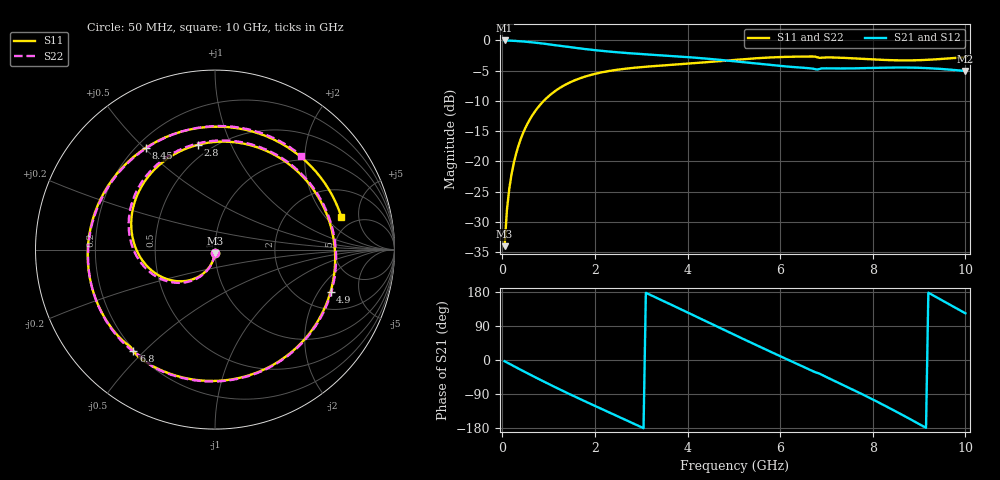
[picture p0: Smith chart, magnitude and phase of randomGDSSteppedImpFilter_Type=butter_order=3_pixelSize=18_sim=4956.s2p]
! freq	dB(S11)	phase(S11)	dB(S12)	phase(S12)
!  dB(S21)	phase(S21)	dB(S22)	phase(S22)
!S-par simulation data
#  GHz  S  DB  R 50
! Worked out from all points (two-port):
!   200 points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, 50 MHz to 10 GHz, reference 50 ohm
!   highest |S21| = -0.01 dB at 50 MHz (marker M1); lowest = -5.0 dB at 10 GHz (marker M2)
!   |S21| within 3 dB of the highest: start of sweep to 4.407 GHz
!   lowest |S11| = -34.0 dB at 50 MHz (marker M3), VSWR 1.04, Z = 49.9 - j1.99 ohm
!   |S11| at or under -10 dB: start of sweep to 894.3 MHz
!   |S22| runs from -34.0 to -2.6 dB; largest |S21 - S12| = 0
!   S11 on the Smith chart (normalised r, x): 50 MHz: 1.00, -0.04; 2.8 GHz: 0.42, +0.76; 4.9 GHz: 2.91, -2.58; 6.8 GHz: 0.19, -0.47; 8.45 GHz: 0.24, +0.51; 10 GHz: 3.86, +3.02
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0.05  -34.01 -92.9  -0.01 -3.3  -0.01 -3.3  -34.03 -93.0
0.1  -28.04 -96.6  -0.02 -6.6  -0.02 -6.6  -28.04 -96.3
0.2  -22.10 -103.6  -0.05 -13.1  -0.05 -13.1  -22.10 -102.9
0.5  -14.45 -123.6  -0.21 -32.3  -0.21 -32.3  -14.44 -121.9
1.1  -8.60 -161.7  -0.74 -69.3  -0.74 -69.3  -8.60 -158.0
1.75  -6.07 159.4  -1.39 -107.0  -1.39 -107.0  -6.07 165.3
2.3  -5.06 127.8  -1.84 -137.9  -1.84 -137.9  -5.06 135.3
2.8  -4.56 99.4  -2.15 -165.8  -2.15 -165.8  -4.56 107.9
3.4  -4.18 65.2  -2.45 160.2  -2.45 160.2  -4.18 74.3
4.2  -3.72 19.7  -2.87 113.9  -2.87 113.9  -3.73 27.8
4.9  -3.28 -20.1  -3.36 73.0  -3.36 73.0  -3.29 -13.6
5.05  -3.19 -28.5  -3.48 64.3  -3.48 64.3  -3.20 -22.4
5.95  -2.76 -79.1  -4.19 13.0  -4.19 13.0  -2.75 -73.9
6.7  -2.66 -122.2  -4.66 -29.1  -4.66 -29.1  -2.62 -115.3
6.8  -2.77 -128.7  -4.81 -34.0  -4.81 -34.0  -2.71 -121.3
7.6  -2.97 -176.8  -4.62 -80.1  -4.62 -80.1  -2.89 -163.4
7.95  -3.12 159.8  -4.56 -101.2  -4.56 -101.2  -3.04 177.2
8.35  -3.26 131.5  -4.49 -126.2  -4.49 -126.2  -3.20 154.2
8.45  -3.28 124.3  -4.48 -132.6  -4.48 -132.6  -3.23 148.3
9.15  -3.22 72.8  -4.57 -179.0  -4.57 -179.0  -3.30 104.7
9.6  -3.00 41.0  -4.79 150.4  -4.79 150.4  -3.16 74.7
10  -2.77 14.7  -5.05 123.2  -5.05 123.2  -2.97 47.3
